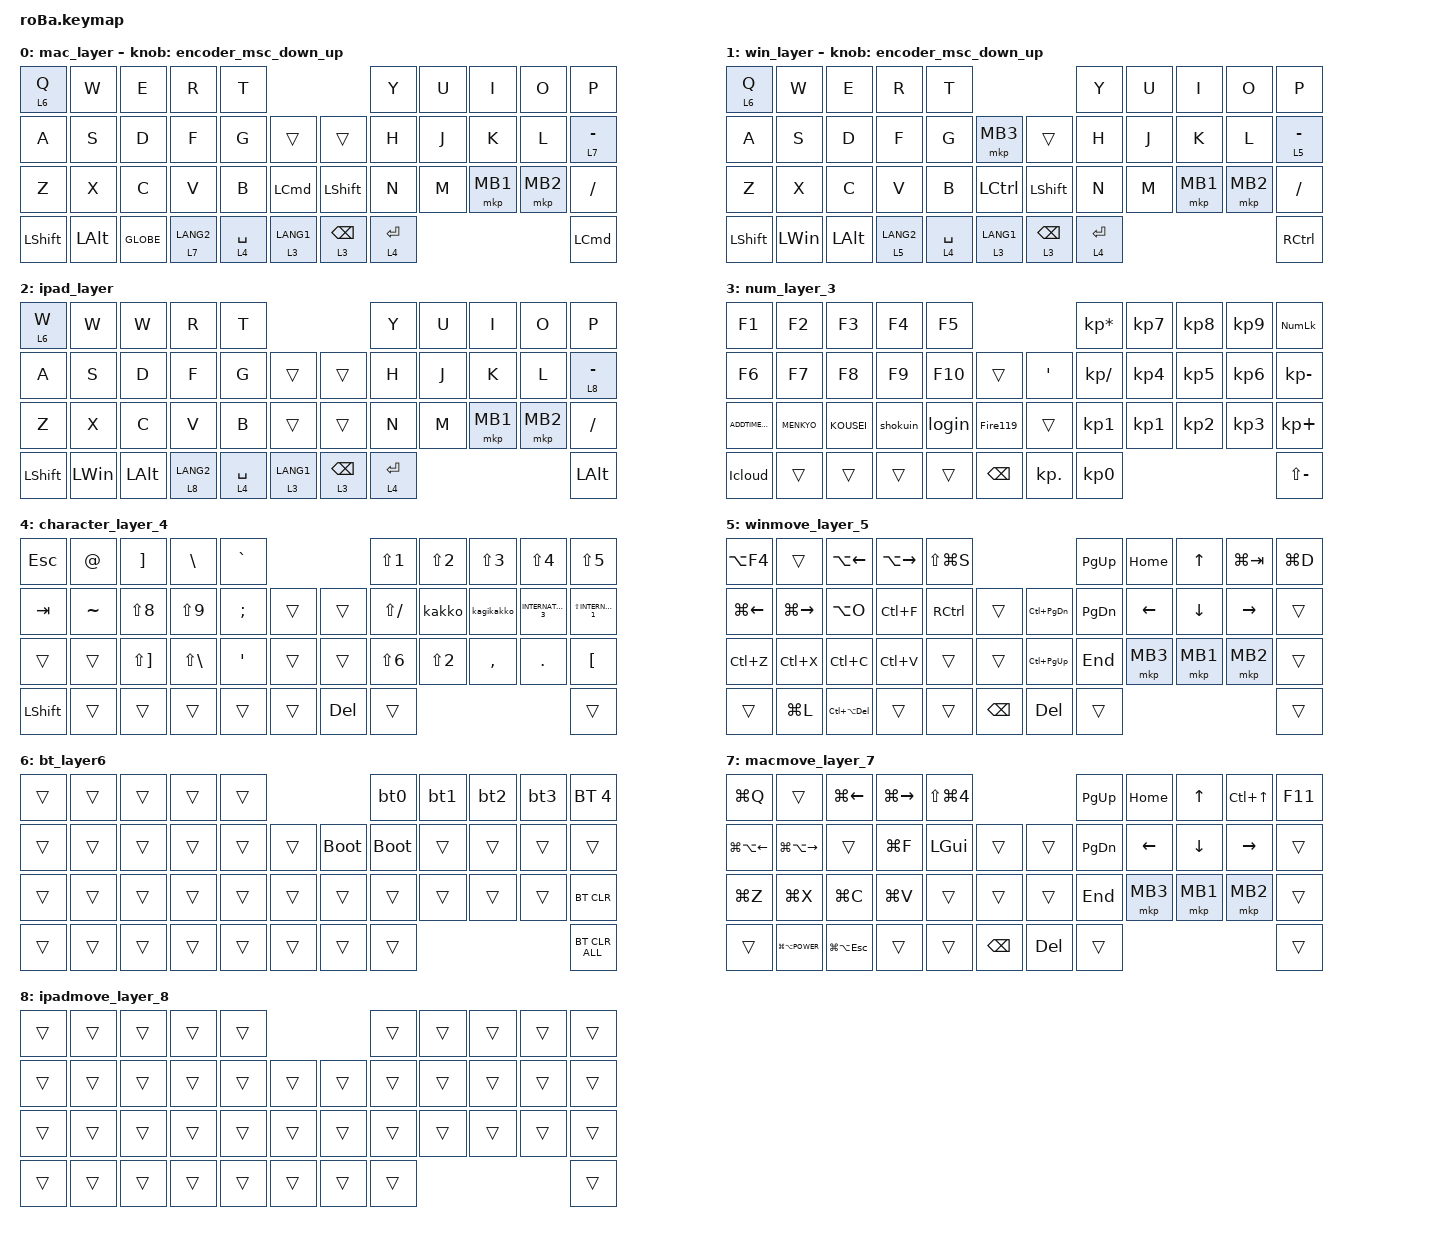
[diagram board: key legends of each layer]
#include <behaviors.dtsi>
#include <dt-bindings/zmk/bt.h>
#include <dt-bindings/zmk/keys.h>
#include <dt-bindings/zmk/pointing.h>

#define ZMK_POINTING_DEFAULT_SCRL_VAL 80

&mt {
    flavor = "balanced";
    quick-tap-ms = <0>;
};

&lt {
    quick-tap-ms = <300>;
    flavor = "balanced";
};

&trackball {
    //automouse-layer = <4>;

    scroll-layers = <5 7 8>;

    // arrows {
    //     layers = <3>;
    //     bindings =
    //         <&kp RIGHT_ARROW>,
    //         <&kp LEFT_ARROW>,
    //         <&kp UP_ARROW>,
    //         <&kp DOWN_ARROW>;
    //     tick = <10>;
    //     wait-ms = <5>;
    //     tap-ms = <5>;
    // };
};

/ {
    combos { compatible = "zmk,combos"; };

    macros {
        to_layer_0: to_layer_0 {
            compatible = "zmk,behavior-macro-one-param";
            #binding-cells = <1>;
            bindings = <&to 0 &macro_param_1to1 &kp MACRO_PLACEHOLDER>;
            label = "TO_LAYER_0";
        };

        bt0: bt0 {
            compatible = "zmk,behavior-macro";
            #binding-cells = <0>;
            bindings =
                <&tog_off 1 &tog_off 2>,
                <&macro_wait_time 200>,
                <&bt BT_SEL 0>,
                <&macro_wait_time 505>;

            label = "BT0";
        };

        bt1: bt1 {
            compatible = "zmk,behavior-macro";
            #binding-cells = <0>;
            bindings =
                <&tog_off 1 &tog_off 2>,
                <&macro_wait_time 200>,
                <&bt BT_SEL 1>,
                <&macro_wait_time 500>,
                <&tog_on 1>;

            label = "BT1";
        };

        bt2: bt2 {
            compatible = "zmk,behavior-macro";
            #binding-cells = <0>;
            bindings =
                <&tog_off 1 &tog_off 2>,
                <&macro_wait_time 200>,
                <&bt BT_SEL 2>,
                <&macro_wait_time 500>,
                <&tog_on 1>;

            label = "BT2";
        };

        bt3: bt3 {
            compatible = "zmk,behavior-macro";
            #binding-cells = <0>;
            bindings =
                <&tog_off 1 &tog_off 2>,
                <&macro_wait_time 200>,
                <&bt BT_SEL 3>,
                <&macro_wait_time 500>,
                <&tog_on 3>;

            label = "BT3";
        };

        Icloud: Icloud {
            compatible = "zmk,behavior-macro";
            #binding-cells = <0>;
            bindings = <&kp LANGUAGE_2 &kp LS(F) &kp I &kp R &kp E &kp LS(NUMBER_2) &kp KP_NUMBER_1 &kp KP_NUMBER_1 &kp KP_NUMBER_9 &kp LS(NUMBER_2) &kp LS(N8) &kp K &kp E &kp T &kp LS(A) &kp LS(N9) &kp RET>;
            label = "ICLOUD";
        };

        login: login {
            compatible = "zmk,behavior-macro";
            #binding-cells = <0>;
            bindings = <&kp LANG2 &kp KP_NUMBER_5 &kp KP_NUMBER_1 &kp KP_NUMBER_6 &kp LS(F) &kp I &kp R &kp E &kp LBKT &kp RET>;
            label = "LOGIN";
        };

        shokuin: shokuin {
            compatible = "zmk,behavior-macro";
            #binding-cells = <0>;
            bindings = <&kp LANGUAGE_2 &kp F &kp I &kp S &kp I &kp T &kp KP_NUMBER_4 &kp KP_NUMBER_5 &kp KP_NUMBER_9 &kp KP_NUMBER_2 &kp RET>;
            label = "SHOKUIN";
        };

        KOUSEI: KOUSEI {
            compatible = "zmk,behavior-macro";
            #binding-cells = <0>;
            bindings = <&kp LANGUAGE_2 &kp S &kp M &kp N &kp H &kp KP_NUMBER_5 &kp KP_NUMBER_0 &kp KP_NUMBER_5 &kp KP_NUMBER_8 &kp RET>;
            label = "KOUSEI";
        };

        MENKYO: MENKYO {
            compatible = "zmk,behavior-macro";
            #binding-cells = <0>;
            bindings = <&kp LANGUAGE_2 &kp M &kp E &kp N &kp K &kp Y &kp O &kp RET>;
            label = "MENKYO";
        };

        ADDTIMEDATE: ADDTIMEDATE {
            compatible = "zmk,behavior-macro";
            #binding-cells = <0>;
            bindings = <&kp KP_SLASH &kp KP_SLASH &kp KP_DIVIDE &kp KP_SLASH &kp KP_DIVIDE &kp KP_DIVIDE &kp KP_DIVIDE &kp KP_DIVIDE &kp KP_DIVIDE &kp F5 &kp KP_DIVIDE &kp KP_DIVIDE &kp KP_DIVIDE &kp KP_DIVIDE &kp KP_DIVIDE &kp KP_DIVIDE &kp KP_DIVIDE &kp KP_DIVIDE &kp KP_DIVIDE>;
            label = "ADDTIMEDATE";
        };

        kakko: kakko {
            compatible = "zmk,behavior-macro";
            #binding-cells = <0>;
            bindings = <&kp LANGUAGE_1 &kp LS(N8) &kp LS(N9) &kp ENTER &kp LEFT>;
            label = "KAKKO";
        };

        kagikakko: kagikakko {
            compatible = "zmk,behavior-macro";
            #binding-cells = <0>;
            bindings = <&kp LANGUAGE_1 &kp RIGHT_BRACKET &kp BACKSLASH &kp ENTER &kp LEFT>;
            label = "KAGIKAKKO";
        };

        Fire119: Fire119 {
            compatible = "zmk,behavior-macro";
            #binding-cells = <0>;
            bindings = <&kp LANGUAGE_2 &kp LS(F) &kp I &kp R &kp E &kp NUMBER_1 &kp KP_NUMBER_1 &kp N9 &kp MINUS &kp RET>;
            label = "FIRE119";
        };
    };

    behaviors {
        lt_to_layer_0: lt_to_layer_0 {
            compatible = "zmk,behavior-hold-tap";
            label = "LAYER_TAP_TO_0";
            bindings = <&mo>, <&to_layer_0>;

            #binding-cells = <2>;
            tapping-term-ms = <200>;
        };

        tog_on: toggle_layer_on_only {
            compatible = "zmk,behavior-toggle-layer";
            #binding-cells = <1>;
            display-name = "toggle layer on";
            toggle-mode = "on";
        };

        tog_off: toggle_layer_off_only {
            compatible = "zmk,behavior-toggle-layer";
            #binding-cells = <1>;
            display-name = "toggle layer off";
            toggle-mode = "off";
        };

        encoder_msc_down_up: encoder_msc_down_up {
            compatible = "zmk,behavior-sensor-rotate";
            label = "ENCODER_MSC_DOWN_UP";
            #sensor-binding-cells = <0>;
            bindings = <&msc SCRL_DOWN>, <&msc SCRL_UP>;

            tap-ms = <20>;
        };
    };

    keymap {
        compatible = "zmk,keymap";

        mac_layer {
            bindings = <
&lt 6 Q         &kp W         &kp E      &kp R        &kp T                                               &kp Y        &kp U  &kp I     &kp O     &kp P
&kp A           &kp S         &kp D      &kp F        &kp G        &trans                &trans           &kp H        &kp J  &kp K     &kp L     &lt 7 MINUS
&kp Z           &kp X         &kp C      &kp V        &kp B        &kp LEFT_COMMAND      &kp LEFT_SHIFT   &kp N        &kp M  &mkp MB1  &mkp MB2  &kp SLASH
&kp LEFT_SHIFT  &kp LEFT_ALT  &kp GLOBE  &lt 7 LANG2  &lt 4 SPACE  &lt 3 LANG1           &lt 3 BACKSPACE  &lt 4 ENTER                             &kp LEFT_COMMAND
            >;

            sensor-bindings = <&encoder_msc_down_up>;
        };

        win_layer {
            bindings = <
&lt 6 Q         &kp W         &kp E         &kp R        &kp T                                               &kp Y        &kp U  &kp I     &kp O     &kp P
&kp A           &kp S         &kp D         &kp F        &kp G        &mkp MB3              &trans           &kp H        &kp J  &kp K     &kp L     &lt 5 MINUS
&kp Z           &kp X         &kp C         &kp V        &kp B        &kp LEFT_CONTROL      &kp LEFT_SHIFT   &kp N        &kp M  &mkp MB1  &mkp MB2  &kp SLASH
&kp LEFT_SHIFT  &kp LEFT_WIN  &kp LEFT_ALT  &lt 5 LANG2  &lt 4 SPACE  &lt 3 LANG1           &lt 3 BACKSPACE  &lt 4 ENTER                             &kp RCTRL
            >;

            sensor-bindings = <&encoder_msc_down_up>;
        };

        ipad_layer {
            bindings = <
&lt 6 W         &kp W         &kp W         &kp R        &kp T                                          &kp Y        &kp U  &kp I     &kp O     &kp P
&kp A           &kp S         &kp D         &kp F        &kp G        &trans           &trans           &kp H        &kp J  &kp K     &kp L     &lt 8 MINUS
&kp Z           &kp X         &kp C         &kp V        &kp B        &trans           &trans           &kp N        &kp M  &mkp MB1  &mkp MB2  &kp SLASH
&kp LEFT_SHIFT  &kp LEFT_WIN  &kp LEFT_ALT  &lt 8 LANG2  &lt 4 SPACE  &lt 3 LANG1      &lt 3 BACKSPACE  &lt 4 ENTER                             &kp LEFT_ALT
            >;
        };

        num_layer_3 {
            bindings = <
&kp F1        &kp F2   &kp F3   &kp F4    &kp F5                                        &kp KP_MULTIPLY  &kp KP_NUMBER_7  &kp KP_NUMBER_8  &kp KP_NUMBER_9  &kp KP_NUM
&kp F6        &kp F7   &kp F8   &kp F9    &kp F10  &trans             &kp SINGLE_QUOTE  &kp KP_DIVIDE    &kp KP_NUMBER_4  &kp KP_NUMBER_5  &kp KP_N6        &kp KP_MINUS
&ADDTIMEDATE  &MENKYO  &KOUSEI  &shokuin  &login   &Fire119           &trans            &kp KP_N1        &kp KP_N1        &kp KP_N2        &kp KP_N3        &kp KP_PLUS
&Icloud       &trans   &trans   &trans    &trans   &kp BACKSPACE      &kp KP_DOT        &kp KP_N0                                                           &kp LS(MINUS)
            >;
        };

        character_layer_4 {
            bindings = <
&kp ESCAPE      &kp AT_SIGN  &kp RIGHT_BRACKET      &kp BACKSLASH      &kp GRAVE                              &kp LS(NUMBER_1)  &kp LS(NUMBER_2)  &kp LS(NUMBER_3)  &kp LS(NUMBER_4)     &kp LS(N5)
&kp TAB         &kp TILDE    &kp LS(N8)             &kp LS(N9)         &kp SEMI          &trans      &trans   &kp LS(SLASH)     &kakko            &kagikakko        &kp INTERNATIONAL_3  &kp LS(INTERNATIONAL_1)
&trans          &trans       &kp LS(RIGHT_BRACKET)  &kp LS(BACKSLASH)  &kp SINGLE_QUOTE  &trans      &trans   &kp LS(NUMBER_6)  &kp LS(NUMBER_2)  &kp COMMA         &kp PERIOD           &kp LEFT_BRACKET
&kp LEFT_SHIFT  &trans       &trans                 &trans             &trans            &trans      &kp DEL  &trans                                                                     &trans
            >;
        };

        winmove_layer_5 {
            bindings = <
&kp LA(F4)    &trans         &kp LA(LEFT)        &kp LA(RIGHT)  &kp LS(LG(S))                                        &kp PG_UP      &kp HOME        &kp UP_ARROW    &kp LG(TAB)      &kp LG(D)
&kp LG(LEFT)  &kp LG(RIGHT)  &kp LA(O)           &kp LC(F)      &kp RCTRL      &trans             &kp LC(PAGE_DOWN)  &kp PAGE_DOWN  &kp LEFT_ARROW  &kp DOWN_ARROW  &kp RIGHT_ARROW  &trans
&kp LC(Z)     &kp LC(X)      &kp LC(C)           &kp LC(V)      &trans         &trans             &kp LC(PG_UP)      &kp END        &mkp MB3        &mkp MB1        &mkp MB2         &trans
&trans        &kp LG(L)      &kp LC(LA(DELETE))  &trans         &trans         &kp BACKSPACE      &kp DELETE         &trans                                                          &trans
            >;
        };

        bt_layer6 {
            bindings = <
&trans  &trans  &trans  &trans  &trans                           &bt0         &bt1    &bt2    &bt3    &bt BT_SEL 4
&trans  &trans  &trans  &trans  &trans  &trans      &bootloader  &bootloader  &trans  &trans  &trans  &trans
&trans  &trans  &trans  &trans  &trans  &trans      &trans       &trans       &trans  &trans  &trans  &bt BT_CLR
&trans  &trans  &trans  &trans  &trans  &trans      &trans       &trans                               &bt BT_CLR_ALL
            >;
        };

        macmove_layer_7 {
            bindings = <
&kp LG(Q)         &trans               &kp LG(LEFT)     &kp LG(RIGHT)  &kp LS(LG(N4))                                 &kp PG_UP      &kp HOME        &kp UP_ARROW    &kp LC(UP_ARROW)  &kp F11
&kp LG(LA(LEFT))  &kp LG(LA(RIGHT))    &trans           &kp LG(F)      &kp LEFT_GUI    &trans             &trans      &kp PAGE_DOWN  &kp LEFT_ARROW  &kp DOWN_ARROW  &kp RIGHT_ARROW   &trans
&kp LG(Z)         &kp LG(X)            &kp LG(C)        &kp LG(V)      &trans          &trans             &trans      &kp END        &mkp MB3        &mkp MB1        &mkp MB2          &trans
&trans            &kp LG(LA(C_POWER))  &kp LG(LA(ESC))  &trans         &trans          &kp BACKSPACE      &kp DELETE  &trans                                                           &trans
            >;
        };

        ipadmove_layer_8 {
            bindings = <
&trans  &trans  &trans  &trans  &trans                      &trans  &trans  &trans  &trans  &trans
&trans  &trans  &trans  &trans  &trans  &trans      &trans  &trans  &trans  &trans  &trans  &trans
&trans  &trans  &trans  &trans  &trans  &trans      &trans  &trans  &trans  &trans  &trans  &trans
&trans  &trans  &trans  &trans  &trans  &trans      &trans  &trans                          &trans
            >;
        };
    };
};
